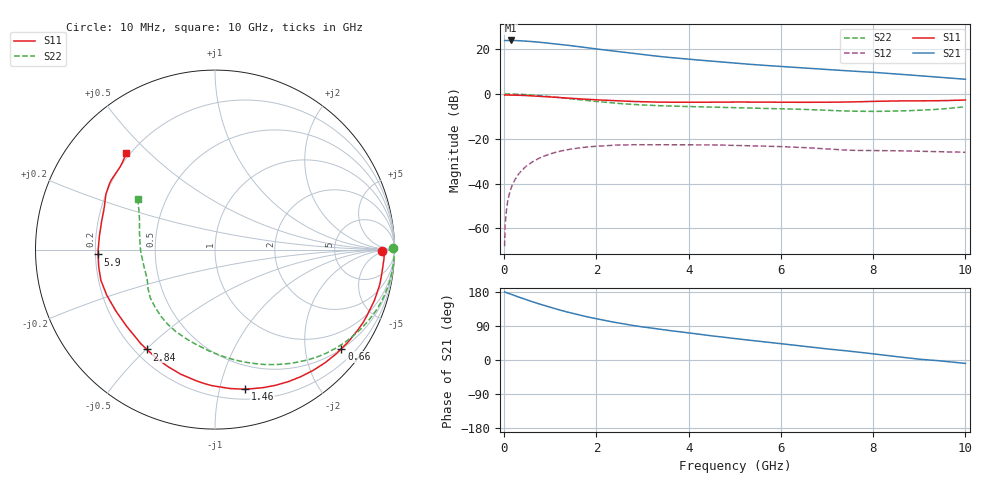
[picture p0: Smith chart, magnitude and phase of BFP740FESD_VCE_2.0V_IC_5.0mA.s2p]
! Infineon Technologies  Discrete & RF Semiconductors
! BFP740FESD
! VCE =  2.0 V,  IC =  5.0 mA
! Common Emitter S-Parameters:  Jan 2016
# GHz  S  MA  R  50
!  f  S11  S21  S12  S22
! GHz  MAG  ANG  MAG  ANG  MAG  ANG  MAG  ANG
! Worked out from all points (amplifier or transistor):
!   233 points, 10 MHz to 10 GHz, reference 50 ohm
!   highest |S21| = 23.8 dB at 150 MHz (marker M1)
!   |S21| within 3 dB of that: start of sweep to 1.713 GHz
!   unconditionally stable (mu >= 1): 7.114 GHz to end of sweep
!   at 200 MHz: K = 0.01, MSG = 31.7 dB, |S12| = -39.7 dB
!   at 1.74 GHz: K = 0.19, MSG = 22.3 dB, |S12| = -23.8 dB
!   at 10 GHz: K = 1.52, MAG = 12.0 dB, |S12| = -26.1 dB
!   S11 on the Smith chart (normalised r, x): 10 MHz: 28, -4; 660 MHz: 0.51, -2.81; 1.46 GHz: 0.29, -1.20; 2.84 GHz: 0.25, -0.50; 5.9 GHz: 0.21, -0.02; 10 GHz: 0.19, +0.43
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0.01  0.9332 -0.5  15.44 179.8  0.0004 153.0  0.9905 0.5
0.02  0.9438 -1.1  15.42 179.2  0.0011 91.5  0.9983 -0.8
0.045  0.9431 -2.7  15.41 178.0  0.0023 88.2  0.9983 -1.9
0.15  0.9388 -9.1  15.53 173.5  0.0078 85.0  0.9954 -6.3
0.36  0.926 -21.2  15.25 164.3  0.0185 77.0  0.9778 -14.9
0.5  0.9136 -29.2  14.94 158.3  0.0252 72.1  0.9597 -20.6
0.66  0.8949 -38.1  14.52 151.9  0.0324 66.3  0.933 -26.8
0.9  0.8669 -51.0  13.78 142.7  0.0422 58.5  0.8886 -35.7
1.08  0.8431 -60.1  13.17 136.3  0.0485 53.0  0.851 -42.2
1.26  0.8193 -68.8  12.55 130.1  0.0539 47.7  0.8127 -48.4
1.46  0.7942 -77.8  11.85 123.8  0.0589 42.3  0.7706 -54.8
1.68  0.7683 -87.1  11.1 117.3  0.0632 36.8  0.7283 -61.5
2.2  0.7198 -105.5  9.476 103.9  0.0699 26.3  0.6471 -75.5
2.52  0.6939 -115.3  8.628 96.8  0.0722 20.8  0.6076 -83.2
2.84  0.6735 -124.3  7.86 90.3  0.0733 16.1  0.5769 -90.4
3.4  0.6532 -136.8  6.779 80.8  0.0735 9.6  0.5432 -99.8
4.5  0.6545 -157.2  5.367 63.7  0.0728 0.0  0.5065 -115.4
5.1  0.657 -166.4  4.761 55.2  0.0706 -4.4  0.4894 -123.5
5.9  0.6517 -177.6  4.156 44.4  0.067 -9.4  0.4667 -134.1
6.8  0.6488 169.0  3.609 32.1  0.0608 -13.4  0.4385 -147.0
8.4  0.6928 148.2  2.83 10.5  0.054 -10.2  0.4126 -177.1
10  0.7293 132.7  2.116 -9.1  0.0497 -8.1  0.5161 146.6
